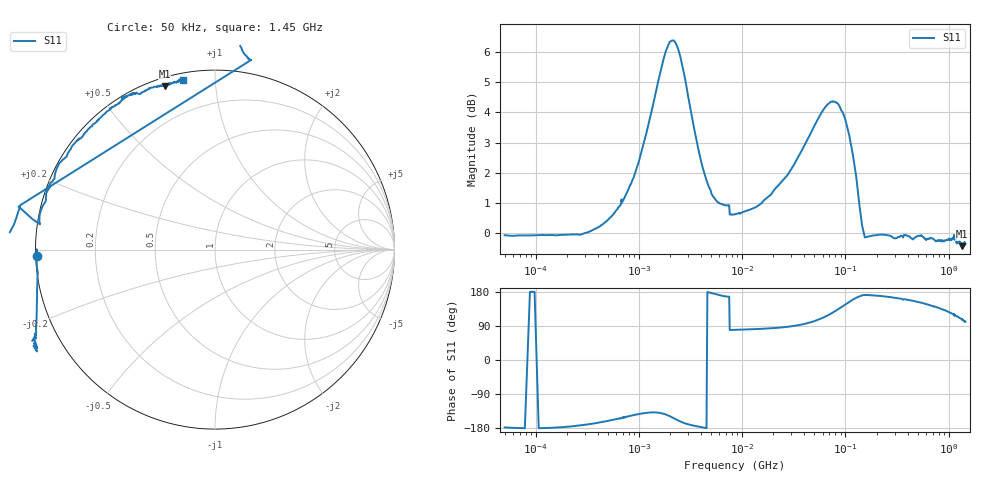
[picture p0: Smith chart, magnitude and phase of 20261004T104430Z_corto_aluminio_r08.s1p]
! piloto_corto / corto_aluminio / r08
# HZ S RI R 50
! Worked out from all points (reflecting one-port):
!   501 points, 50 kHz to 1.45 GHz, reference 50 ohm
!   lowest |S11| = -0.4 dB at 1.351 GHz (marker M1), VSWR 41.31, Z = 1.87 + j36.8 ohm
!   phase of S11 starts at -178 deg and turns -81 deg over the sweep
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50000  -0.9928 -0.0363
183000  -0.9933 -0.0498
354000  -0.9908 -0.2087
658000  -0.9971 -0.4952
1180000  -1.113 -0.952
1630000  -1.43 -1.193
1990000  -1.765 -1.088
2440000  -1.884 -0.664
2800000  -1.755 -0.3942
3340000  -1.514 -0.1889
4690000  -1.201 0.0233
7300000  -1.086 0.2468
7750000  0.1989 1.056
8560000  0.1927 1.059
3.16e7  0.00237 1.297
4.69e7  -0.2602 1.45
6.76e7  -0.7673 1.444
8.02e7  -1.05 1.272
9.55e7  -1.261 0.9427
9.82e7  -1.282 0.8806
1e8  -1.291 0.8392
1.18e8  -1.262 0.4739
1.36e8  -1.094 0.2394
1.63e8  -0.9763 0.1461
4.06e8  -0.9212 0.3617
8.47e8  -0.6846 0.6872
1.351e9  -0.2813 0.9102
1.45e9  -0.178 0.9439
